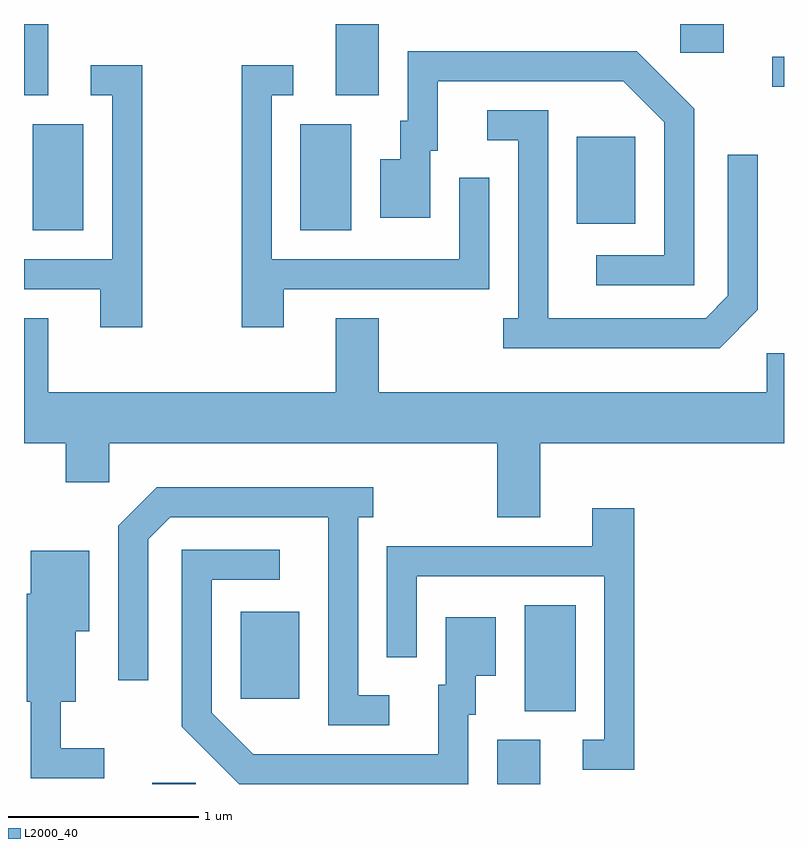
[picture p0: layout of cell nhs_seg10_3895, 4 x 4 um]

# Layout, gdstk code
import gdstk
lib = gdstk.Library(unit=1e-6, precision=1e-09)
def R(c, l, rs):  # rectangles x0, y0, x1, y1
    for r in rs: c.add(gdstk.rectangle(r[:2], r[2:], *l))
def P(c, l, *ps):  # polygons
    for p in ps: c.add(gdstk.Polygon(p, *l))
L2000_40 = (2000, 40)

nhs_seg10_3895 = lib.new_cell('nhs_seg10_3895')
R(nhs_seg10_3895, L2000_40, [(300.286,2156.522,300.514,2156.529), (302.101,2156.522,302.329,2156.754), (302.246,2156.906,302.514,2157.464), (300.751,2156.971,301.059,2157.429), (299.656,2159.436,299.924,2159.994), (301.066,2159.436,301.334,2159.994), (302.521,2159.471,302.829,2159.929), (299.611,2160.146,299.739,2160.522), (301.251,2160.146,301.479,2160.522), (303.548,2160.191,303.611,2160.349), (303.066,2160.371,303.294,2160.522)])
P(nhs_seg10_3895, L2000_40, [(303.139,2160.077),(302.837,2160.379),(301.631,2160.379),(301.631,2160.014),(301.591,2160.014),(301.591,2159.809),(301.486,2159.809),(301.486,2159.501),(301.749,2159.501),(301.749,2159.856),(301.789,2159.856),(301.789,2160.221),(302.764,2160.221),(302.981,2160.004),(302.981,2159.304),(302.623,2159.304),(302.623,2159.146),(303.139,2159.146)],
  [(300.979,2159.126),(302.059,2159.126),(302.059,2159.713),(301.901,2159.713),(301.901,2159.284),(300.914,2159.284),(300.914,2160.146),(301.028,2160.146),(301.028,2160.304),(300.756,2160.304),(300.756,2158.926),(300.979,2158.926)],
  [(300.234,2160.304),(299.963,2160.304),(299.963,2160.146),(300.076,2160.146),(300.076,2159.284),(299.611,2159.284),(299.611,2159.126),(300.011,2159.126),(300.011,2158.926),(300.234,2158.926)],
  [(303.474,2159.019),(303.474,2159.833),(303.316,2159.833),(303.316,2159.092),(303.199,2158.974),(302.369,2158.974),(302.369,2160.069),(302.048,2160.069),(302.048,2159.911),(302.211,2159.911),(302.211,2158.974),(302.133,2158.974),(302.133,2158.816),(303.272,2158.816)],
  [(302.329,2158.316),(303.611,2158.316),(303.611,2158.789),(303.521,2158.789),(303.521,2158.584),(301.479,2158.584),(301.479,2158.974),(301.251,2158.974),(301.251,2158.584),(299.739,2158.584),(299.739,2158.974),(299.611,2158.974),(299.611,2158.316),(299.831,2158.316),(299.831,2158.111),(300.059,2158.111),(300.059,2158.316),(302.101,2158.316),(302.101,2157.926),(302.329,2157.926)],
  [(301.533,2156.989),(301.369,2156.989),(301.369,2157.926),(301.448,2157.926),(301.448,2158.084),(300.309,2158.084),(300.106,2157.882),(300.106,2157.068),(300.264,2157.068),(300.264,2157.809),(300.382,2157.926),(301.211,2157.926),(301.211,2156.831),(301.533,2156.831)],
  [(302.824,2157.974),(302.601,2157.974),(302.601,2157.774),(301.521,2157.774),(301.521,2157.188),(301.679,2157.188),(301.679,2157.616),(302.666,2157.616),(302.666,2156.754),(302.553,2156.754),(302.553,2156.596),(302.824,2156.596)],
  [(301.949,2156.886),(301.989,2156.886),(301.989,2157.091),(302.094,2157.091),(302.094,2157.399),(301.831,2157.399),(301.831,2157.044),(301.791,2157.044),(301.791,2156.679),(300.817,2156.679),(300.599,2156.897),(300.599,2157.596),(300.958,2157.596),(300.958,2157.754),(300.441,2157.754),(300.441,2156.824),(300.743,2156.522),(301.949,2156.522)],
  [(300.033,2156.709),(299.804,2156.709),(299.804,2156.956),(299.884,2156.956),(299.884,2157.326),(299.954,2157.326),(299.954,2157.749),(299.646,2157.749),(299.646,2157.524),(299.626,2157.524),(299.626,2156.956),(299.646,2156.956),(299.646,2156.551),(300.033,2156.551)])

lib.write_gds('nhs_seg10_3895.gds')
